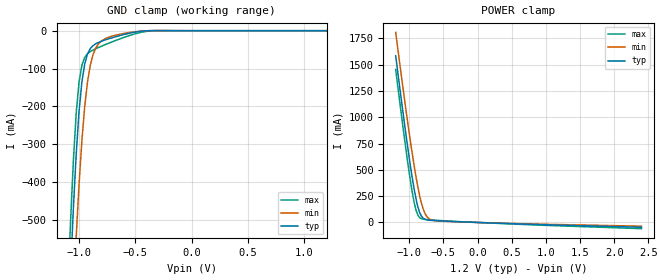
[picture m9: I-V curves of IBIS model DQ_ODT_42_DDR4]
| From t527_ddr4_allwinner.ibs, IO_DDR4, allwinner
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|   Model DQ_ODT_42_DDR4
[Model] DQ_ODT_42_DDR4
Model_type Input
Polarity   Non-Inverting
Enable   Active-High
Vinl =  0.600V
Vinh =  0.600V
C_comp   1.552pF   1.515pF   1.600pF
C_comp_power_clamp   0.439pF   0.422pF   0.461pF
C_comp_gnd_clamp   0.853pF   0.829pF   0.878pF
[Model Spec]
Vinh   0.600V   0.570V   0.630V
Vinl   0.600V   0.570V   0.630V
[Temperature Range]   25.000   0.125k   -40.000
[Voltage Range]   1.200V   1.140V   1.260V
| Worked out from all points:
|   GND clamp passes 1 mA (typ) near -0.43 V on its own axis
|   POWER clamp passes 1 mA (typ) near -0.04 V on its own axis
[GND_clamp]
|Voltage   I(typ)   I(min)   I(max)
-1.2V     -1.574A    -1.762A    -1.482A
-1.1V     -809.9mA   -1.039A    -682.6mA
-1.075V   -630.6mA   -863.5mA   -500.1mA
-1.05V    -466.2mA   -696.7mA   -340.8mA
-1.025V   -324.6mA   -542.4mA   -216.6mA
-1V       -213.3mA   -405.5mA   -135.2mA
-950mV    -88.03mA   -200.5mA   -70.6mA
-925mV    -61.47mA   -135.1mA   -60.58mA
-875mV    -39.18mA   -62.5mA    -50.78mA
-775mV    -25.1mA    -22.19mA   -37.78mA
-475mV    -2.498mA   -1.781mA   -6.091mA
1.2V      0A         0A         0A
[POWER_clamp]
|Voltage   I(typ)   I(min)   I(max)
-1.2V     1.584A     1.806A     1.454A
-1.1V     1.079A     1.31A      940.6mA
-1.025V   719.6mA    954.4mA    576.6mA
-975mV    497mA      729.5mA    356.6mA
-925mV    300.1mA    520.5mA    175.9mA
-900mV    216.8mA    424.5mA    111.2mA
-850mV    96.15mA    256.7mA    46.24mA
-800mV    41.86mA    133.3mA    31.42mA
-725mV    22.89mA    42.87mA    26.12mA
-625mV    17.61mA    17mA       21.46mA
-400mV    9.985mA    8.392mA    12.16mA
2.4V      -45.67mA   -35.47mA   -58.98mA
